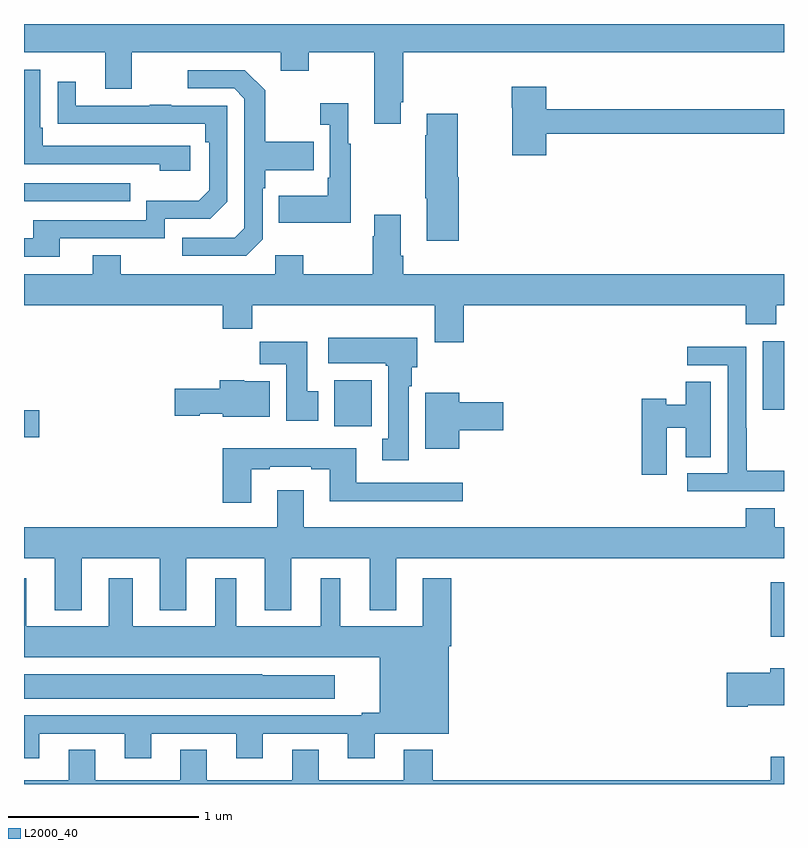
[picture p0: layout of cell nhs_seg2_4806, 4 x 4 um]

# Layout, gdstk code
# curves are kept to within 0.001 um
import gdstk
lib = gdstk.Library(unit=1e-6, precision=1e-09)
def R(c, l, rs):  # rectangles x0, y0, x1, y1
    for r in rs: c.add(gdstk.rectangle(r[:2], r[2:], *l))
def P(c, l, *ps):  # polygons
    for p in ps: c.add(gdstk.Polygon(p, *l))
L2000_40 = (2000, 40)

nhs_seg2_4806 = lib.new_cell('nhs_seg2_4806')
R(nhs_seg2_4806, L2000_40, [(376.931,628.574,377,628.861), (373,629.626,373.081,629.768), (374.633,629.684,374.83,629.926), (376.889,629.769,377,630.13), (373,630.867,373.559,630.963)])
P(nhs_seg2_4806, L2000_40, [(374.983,631.387),(374.996,631.387),(374.996,631.652),(377,631.652),(377,631.8),(373,631.8),(373,631.652),(373.427,631.652),(373.427,631.458),(373.567,631.458),(373.567,631.652),(374.351,631.652),(374.351,631.553),(374.499,631.553),(374.499,631.652),(374.843,631.652),(374.843,631.275),(374.983,631.275)],
  [(373.876,631.158),(373.099,631.158),(373.099,631.255),(373.086,631.255),(373.086,631.56),(373,631.56),(373,631.062),(373.715,631.062),(373.715,631.028),(373.876,631.028)],
  [(374.256,630.666),(374.256,630.935),(374.269,630.935),(374.269,631.031),(374.525,631.031),(374.525,631.179),(374.269,631.179),(374.269,631.451),(374.163,631.557),(373.863,631.557),(373.863,631.461),(374.106,631.461),(374.16,631.407),(374.16,630.726),(374.109,630.675),(373.833,630.675),(373.833,630.579),(374.169,630.579)],
  [(373.189,630.672),(373.74,630.672),(373.74,630.774),(373.98,630.774),(374.07,630.864),(374.07,631.371),(373.775,631.371),(373.775,631.376),(373.663,631.376),(373.663,631.371),(373.273,631.371),(373.273,631.495),(373.177,631.495),(373.177,631.276),(373.954,631.275),(373.954,631.178),(373.974,631.178),(373.974,630.924),(373.921,630.871),(373.644,630.871),(373.644,630.768),(373.049,630.768),(373.049,630.672),(373,630.672),(373,630.576),(373.189,630.576)],
  [(375.749,631.222),(377,631.222),(377,631.351),(375.749,631.351),(375.749,631.471),(375.566,631.471),(375.566,631.358),(375.571,631.358),(375.571,631.11),(375.749,631.11)],
  [(374.719,631.171),(374.707,631.171),(374.707,631.384),(374.559,631.384),(374.559,631.271),(374.61,631.271),(374.61,630.991),(374.598,630.991),(374.598,630.895),(374.341,630.895),(374.341,630.755),(374.719,630.755)],
  [(375.287,630.993),(375.282,630.993),(375.282,631.327),(375.119,631.327),(375.119,631.214),(375.112,631.214),(375.112,630.883),(375.119,630.883),(375.119,630.66),(375.287,630.66)],
  [(375.314,630.32),(376.799,630.32),(376.799,630.221),(376.959,630.221),(376.959,630.32),(377,630.32),(377,630.484),(374.996,630.484),(374.996,630.58),(374.983,630.58),(374.983,630.796),(374.843,630.796),(374.843,630.683),(374.836,630.683),(374.836,630.484),(374.469,630.484),(374.469,630.583),(374.322,630.583),(374.322,630.484),(373.509,630.484),(373.509,630.583),(373.361,630.583),(373.361,630.484),(373,630.484),(373,630.32),(374.045,630.32),(374.045,630.196),(374.201,630.196),(374.201,630.32),(375.161,630.32),(375.161,630.126),(375.314,630.126)],
  [(375.025,629.894),(375.04,629.894),(375.04,629.994),(375.07,629.994),(375.07,630.148),(374.601,630.148),(374.601,630.014),(374.905,630.014),(374.905,630.001),(374.918,630.001),(374.918,629.618),(374.885,629.618),(374.885,629.505),(375.025,629.505)],
  [(374.548,629.868),(374.491,629.868),(374.491,630.127),(374.242,630.127),(374.242,630.008),(374.381,630.008),(374.381,629.712),(374.548,629.712)],
  [(377,629.449),(376.803,629.449),(376.803,629.672),(376.8,629.672),(376.8,630.102),(376.491,630.102),(376.491,630.003),(376.704,630.003),(376.704,629.436),(376.491,629.436),(376.491,629.34),(377,629.34)],
  [(374.293,629.92),(374.16,629.92),(374.16,629.926),(374.03,629.926),(374.03,629.88),(373.794,629.88),(373.794,629.738),(373.926,629.738),(373.926,629.75),(374.046,629.75),(374.046,629.732),(374.293,629.732)],
  [(376.384,629.675),(376.484,629.675),(376.484,629.521),(376.615,629.521),(376.615,629.918),(376.484,629.918),(376.484,629.797),(376.38,629.797),(376.38,629.828),(376.25,629.828),(376.25,629.427),(376.384,629.427)],
  [(375.292,629.663),(375.523,629.663),(375.523,629.81),(375.292,629.81),(375.292,629.86),(375.113,629.86),(375.113,629.564),(375.292,629.564)],
  [(374.197,629.457),(374.293,629.457),(374.293,629.469),(374.513,629.469),(374.513,629.457),(374.609,629.457),(374.609,629.288),(375.31,629.288),(375.31,629.385),(374.749,629.385),(374.749,629.566),(374.045,629.566),(374.045,629.28),(374.197,629.28)],
  [(373.303,628.988),(373.715,628.988),(373.715,628.715),(373.855,628.715),(373.855,628.988),(374.267,628.988),(374.267,628.715),(374.407,628.715),(374.407,628.988),(374.819,628.988),(374.819,628.715),(374.959,628.715),(374.959,628.988),(377,628.988),(377,629.152),(376.951,629.152),(376.951,629.251),(376.799,629.251),(376.799,629.152),(374.473,629.152),(374.473,629.347),(374.333,629.347),(374.333,629.152),(373,629.152),(373,628.988),(373.163,628.988),(373.163,628.715),(373.303,628.715)],
  [(373.081,628.065),(373.529,628.065),(373.529,627.936),(373.669,627.936),(373.669,628.065),(374.117,628.065),(374.117,627.936),(374.257,627.936),(374.257,628.065),(374.705,628.065),(374.705,627.936),(374.845,627.936),(374.845,628.064),(375.235,628.064),(375.235,628.526),(375.248,628.526),(375.248,628.882),(375.098,628.882),(375.098,628.63),(374.665,628.63),(374.665,628.882),(374.561,628.882),(374.561,628.63),(374.116,628.63),(374.116,628.882),(374.006,628.882),(374.006,628.63),(373.573,628.63),(373.573,628.882),(373.445,628.882),(373.445,628.63),(373.012,628.63),(373.012,628.882),(373,628.882),(373,628.466),(374.873,628.466),(374.873,628.174),(374.777,628.174),(374.777,628.161),(373,628.161),(373,627.936),(373.081,627.936)],
  [(376.81,628.214),(377,628.214),(377,628.408),(376.928,628.408),(376.928,628.385),(376.698,628.385),(376.698,628.207),(376.81,628.207)],
  [(374.635,628.372),(374.253,628.372),(374.253,628.378),(373,628.378),(373,628.25),(374.635,628.25)],
  [(373,627.8),(377,627.8),(377,627.944),(376.931,627.944),(376.931,627.82),(375.152,627.82),(375.152,627.979),(374.999,627.979),(374.999,627.82),(374.551,627.82),(374.551,627.98),(374.411,627.98),(374.411,627.82),(373.963,627.82),(373.963,627.98),(373.823,627.98),(373.823,627.82),(373.375,627.82),(373.375,627.98),(373.235,627.98),(373.235,627.82),(373,627.82)])

lib.write_gds('nhs_seg2_4806.gds')
